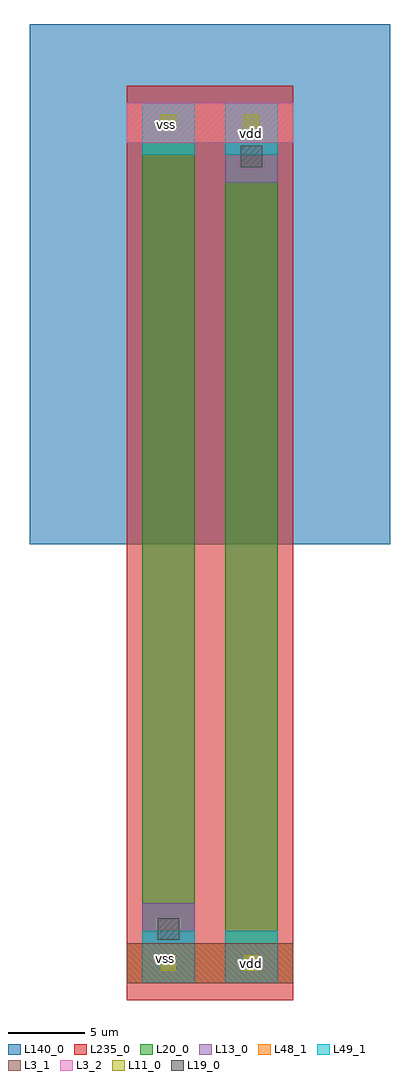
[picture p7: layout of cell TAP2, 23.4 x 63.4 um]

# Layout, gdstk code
import gdstk
lib = gdstk.Library(unit=1e-6, precision=1e-09)
def R(c, l, rs):  # rectangles x0, y0, x1, y1
    for r in rs: c.add(gdstk.rectangle(r[:2], r[2:], *l))
def P(c, l, *ps):  # polygons
    for p in ps: c.add(gdstk.Polygon(p, *l))
L3_1 = (3, 1)
L3_2 = (3, 2)
L11_0 = (11, 0)
L13_0 = (13, 0)
L19_0 = (19, 0)
L20_0 = (20, 0)
L48_1 = (48, 1)
L49_1 = (49, 1)
L140_0 = (140, 0)
L235_0 = (235, 0)

tap2 = lib.new_cell('TAP2')
R(tap2, L3_1, [(0,1.1,10.8,3.7)])
R(tap2, L3_2, [(0,55.7,10.8,58.3)])
R(tap2, L11_0, [(2.2,1.9,3.2,2.9), (7.6,1.9,8.6,2.9), (7.6,1.9,8.6,2.9), (2.2,56.5,3.2,57.5), (2.2,56.5,3.2,57.5), (7.6,56.5,8.6,57.5)])
P(tap2, L13_0, [(6.4,53.1),(6.4,55.7),(0,55.7),(0,58.3),(10.8,58.3),(10.8,55.7),(9.8,55.7),(9.8,53.1)],
  [(0,1.1),(0,3.7),(1,3.7),(1,6.3),(4.4,6.3),(4.4,3.7),(10.8,3.7),(10.8,1.1)])
R(tap2, L19_0, [(2,3.9,3.4,5.3), (7.4,54.1,8.8,55.5)])
R(tap2, L20_0, [(1,1.1,4.4,58.3), (6.4,1.1,9.8,58.3)])
R(tap2, L48_1, [(0,1.1,10.8,3.7), (0,55.7,10.8,58.3)])
R(tap2, L49_1, [(1,1.1,4.4,4.5), (6.4,1.1,9.8,4.5), (1,54.9,4.4,58.3), (6.4,54.9,9.8,58.3)])
R(tap2, L140_0, [(-6.3,29.6,17.1,63.4)])
R(tap2, L235_0, [(0,0,10.8,59.4)])
tap2.add(gdstk.Label('vss', (2.6,56.9), layer=49, texttype=0))
tap2.add(gdstk.Label('vss', (2.5,2.7), layer=49, texttype=0))
tap2.add(gdstk.Label('vdd', (8.1,56.3), layer=49, texttype=0))
tap2.add(gdstk.Label('vdd', (8.1,2.4), layer=49, texttype=0))
tap2.add(gdstk.Label('vss', (2.7,2.4), layer=48, texttype=0))
tap2.add(gdstk.Label('vdd', (2.7,57.1), layer=48, texttype=0))

lib.write_gds('TAP2.gds')
